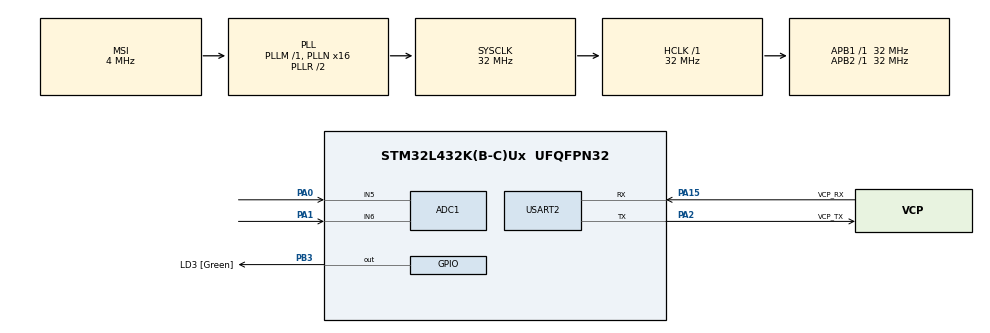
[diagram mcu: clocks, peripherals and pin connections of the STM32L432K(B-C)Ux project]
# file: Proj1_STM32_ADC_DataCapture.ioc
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ADC1.Channel-0\#ChannelRegularConversion=ADC_CHANNEL_5
ADC1.Channel-1\#ChannelRegularConversion=ADC_CHANNEL_6
ADC1.ContinuousConvMode=DISABLE
ADC1.ExternalTrigConv=ADC_SOFTWARE_START
ADC1.NbrOfConversion=2
ADC1.NbrOfConversionFlag=1
ADC1.OffsetNumber-0\#ChannelRegularConversion=ADC_OFFSET_NONE
ADC1.OffsetNumber-1\#ChannelRegularConversion=ADC_OFFSET_NONE
ADC1.Overrun=ADC_OVR_DATA_OVERWRITTEN
ADC1.Rank-0\#ChannelRegularConversion=1
ADC1.Rank-1\#ChannelRegularConversion=2
ADC1.SamplingTime-0\#ChannelRegularConversion=ADC_SAMPLETIME_2CYCLES_5
ADC1.SamplingTime-1\#ChannelRegularConversion=ADC_SAMPLETIME_2CYCLES_5
ADC1.master=1
Dma.ADC1.0.Direction=DMA_PERIPH_TO_MEMORY
Dma.ADC1.0.Instance=DMA1_Channel1
Dma.ADC1.0.MemDataAlignment=DMA_MDATAALIGN_HALFWORD
Dma.ADC1.0.MemInc=DMA_MINC_ENABLE
Dma.ADC1.0.Mode=DMA_NORMAL
Dma.ADC1.0.PeriphDataAlignment=DMA_PDATAALIGN_HALFWORD
Dma.ADC1.0.PeriphInc=DMA_PINC_DISABLE
Dma.ADC1.0.Priority=DMA_PRIORITY_LOW
Dma.Request0=ADC1
Mcu.Family=STM32L4
Mcu.Name=STM32L432K(B-C)Ux
Mcu.Package=UFQFPN32
NVIC.ADC1_IRQn=true\:0\:0\:false\:false\:true\:true\:true\:true
NVIC.DMA1_Channel1_IRQn=true\:0\:0\:false\:false\:true\:false\:true\:true
NVIC.PriorityGroup=NVIC_PRIORITYGROUP_4
PA0.Signal=ADCx_IN5
PA1.Signal=ADCx_IN6
PA13\ (JTMS-SWDIO).GPIO_Label=SWDIO
PA13\ (JTMS-SWDIO).Mode=Serial_Wire
PA13\ (JTMS-SWDIO).Signal=SYS_JTMS-SWDIO
PA14\ (JTCK-SWCLK).GPIO_Label=SWCLK
PA14\ (JTCK-SWCLK).Mode=Serial_Wire
PA14\ (JTCK-SWCLK).Signal=SYS_JTCK-SWCLK
PA15\ (JTDI).GPIO_Label=VCP_RX
PA15\ (JTDI).Mode=Asynchronous
PA15\ (JTDI).Signal=USART2_RX
PA2.GPIO_Label=VCP_TX
PA2.Mode=Asynchronous
PA2.Signal=USART2_TX
PB3\ (JTDO-TRACESWO).GPIO_Label=LD3 [Green]
PB3\ (JTDO-TRACESWO).Signal=GPIO_Output
PC14-OSC32_IN\ (PC14).Mode=LSE-External-Oscillator
PC14-OSC32_IN\ (PC14).Signal=RCC_OSC32_IN
PC15-OSC32_OUT\ (PC15).Mode=LSE-External-Oscillator
PC15-OSC32_OUT\ (PC15).Signal=RCC_OSC32_OUT
ProjectManager.HeapSize=0x200
ProjectManager.StackSize=0x400
ProjectManager.TargetToolchain=STM32CubeIDE
RCC.ADCFreq_Value=16000000
RCC.AHBFreq_Value=32000000
RCC.APB1Freq_Value=32000000
RCC.APB1TimFreq_Value=32000000
RCC.APB2Freq_Value=32000000
RCC.APB2TimFreq_Value=32000000
RCC.CortexFreq_Value=32000000
RCC.HCLKFreq_Value=32000000
RCC.HSE_VALUE=8000000
RCC.HSI16_VALUE=16000000
RCC.HSI48_VALUE=48000000
RCC.HSI_VALUE=16000000
RCC.MSI_VALUE=4000000
RCC.PLLMUL=RCC_PLLMUL_4
RCC.PLLN=16
RCC.PLLSAI1N=16
RCC.PLLSAI1R=RCC_PLLR_DIV4
RCC.SYSCLKFreq_VALUE=32000000
RCC.SYSCLKSource=RCC_SYSCLKSOURCE_PLLCLK
RCC.USBFreq_Value=32000000
RCC.VCOOutputFreq_Value=64000000
SH.ADCx_IN5.0=ADC1_IN5,IN5-Single-Ended
SH.ADCx_IN6.0=ADC1_IN6,IN6-Single-Ended
USART2.VirtualMode-Asynchronous=VM_ASYNC
board=NUCLEO-L432KC

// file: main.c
/* USER CODE BEGIN Header */
/**
  ******************************************************************************
  * @file           : main.c
  * @brief          : Main program body
  ******************************************************************************
  * @attention
  *
  * Copyright (c) 2024 STMicroelectronics.
  * All rights reserved.
  *
  * This software is licensed under terms that can be found in the LICENSE file
  * in the root directory of this software component.
  * If no LICENSE file comes with this software, it is provided AS-IS.
  *
  ******************************************************************************
  */
/* USER CODE END Header */
#include "main.h"

/* USER CODE BEGIN Includes */
#include <string.h>
#include <stdio.h>
/* USER CODE END Includes */

/* USER CODE BEGIN PD */
#define TXBUFLEN (100)
/* USER CODE END PD */

ADC_HandleTypeDef hadc1;
DMA_HandleTypeDef hdma_adc1;

UART_HandleTypeDef huart2;

/* USER CODE BEGIN PV */
volatile uint16_t adcResultsDMA[2];
const int adcChannelCount = sizeof(adcResultsDMA)/sizeof(adcResultsDMA[0]);
volatile int adcConversionComplete = 0; // set by callback
char txBuf[TXBUFLEN];
/* USER CODE END PV */

void SystemClock_Config(void);
static void MX_GPIO_Init(void);
static void MX_DMA_Init(void);
static void MX_USART2_UART_Init(void);
static void MX_ADC1_Init(void);

int main(void)
{

  /* MCU Configuration--------------------------------------------------------*/

  /* Reset of all peripherals, Initializes the Flash interface and the Systick. */
  HAL_Init();

  /* Configure the system clock */
  SystemClock_Config();

  /* Initialize all configured peripherals */
  MX_GPIO_Init();
  MX_DMA_Init();
  MX_USART2_UART_Init();
  MX_ADC1_Init();

  /* Infinite loop */
  /* USER CODE BEGIN WHILE */

  count = 0; // Initiate Loop Counter to 0

  while (1)
  {
    /* USER CODE END WHILE */

    /* USER CODE BEGIN 3 */
	// Capture samples of ADC Raw data and transmit through Serial Communications using UART protocol
	//Set LD3 LED to High - indicating start of capture
	HAL_GPIO_WritePin(GPIOB, GPIO_PIN_3, GPIO_PIN_SET);

	// Getting ADC value
	HAL_ADC_Start_DMA(&hadc1, (uint32_t*)adcResultsDMA, adcChannelCount);
	while(adcConversionComplete == 0)
	{

	}
	adcConversionComplete = 0;		// Create a message to send over UART
	snprintf(txBuf, TXBUFLEN, "CH1 = %d\tCH2 = %d\r\n", adcResultsDMA[0], adcResultsDMA[1]);
	HAL_UART_Transmit(&huart2, (uint8_t*)txBuf, strlen(txBuf), HAL_MAX_DELAY);
	HAL_GPIO_WritePin(GPIOB, GPIO_PIN_3, GPIO_PIN_RESET); 		// Set LD3 LED to indicate ADC has stopped acquisition
	HAL_Delay(10);

  }
  /* USER CODE END 3 */
}

void SystemClock_Config(void)
{
  RCC_OscInitTypeDef RCC_OscInitStruct = {0};
  RCC_ClkInitTypeDef RCC_ClkInitStruct = {0};

  /** Configure the main internal regulator output voltage
  */
  if (HAL_PWREx_ControlVoltageScaling(PWR_REGULATOR_VOLTAGE_SCALE1) != HAL_OK)
  {
    Error_Handler();
  }

  /** Configure LSE Drive Capability
  */
  HAL_PWR_EnableBkUpAccess();
  __HAL_RCC_LSEDRIVE_CONFIG(RCC_LSEDRIVE_LOW);

  /** Initializes the RCC Oscillators according to the specified parameters
  * in the RCC_OscInitTypeDef structure.
  */
  RCC_OscInitStruct.OscillatorType = RCC_OSCILLATORTYPE_LSE|RCC_OSCILLATORTYPE_MSI;
  RCC_OscInitStruct.LSEState = RCC_LSE_ON;
  RCC_OscInitStruct.MSIState = RCC_MSI_ON;
  RCC_OscInitStruct.MSICalibrationValue = 0;
  RCC_OscInitStruct.MSIClockRange = RCC_MSIRANGE_6;
  RCC_OscInitStruct.PLL.PLLState = RCC_PLL_ON;
  RCC_OscInitStruct.PLL.PLLSource = RCC_PLLSOURCE_MSI;
  RCC_OscInitStruct.PLL.PLLM = 1;
  RCC_OscInitStruct.PLL.PLLN = 16;
  RCC_OscInitStruct.PLL.PLLP = RCC_PLLP_DIV7;
  RCC_OscInitStruct.PLL.PLLQ = RCC_PLLQ_DIV2;
  RCC_OscInitStruct.PLL.PLLR = RCC_PLLR_DIV2;
  if (HAL_RCC_OscConfig(&RCC_OscInitStruct) != HAL_OK)
  {
    Error_Handler();
  }

  /** Initializes the CPU, AHB and APB buses clocks
  */
  RCC_ClkInitStruct.ClockType = RCC_CLOCKTYPE_HCLK|RCC_CLOCKTYPE_SYSCLK
                              |RCC_CLOCKTYPE_PCLK1|RCC_CLOCKTYPE_PCLK2;
  RCC_ClkInitStruct.SYSCLKSource = RCC_SYSCLKSOURCE_PLLCLK;
  RCC_ClkInitStruct.AHBCLKDivider = RCC_SYSCLK_DIV1;
  RCC_ClkInitStruct.APB1CLKDivider = RCC_HCLK_DIV1;
  RCC_ClkInitStruct.APB2CLKDivider = RCC_HCLK_DIV1;

  if (HAL_RCC_ClockConfig(&RCC_ClkInitStruct, FLASH_LATENCY_1) != HAL_OK)
  {
    Error_Handler();
  }

  /** Enable MSI Auto calibration
  */
  HAL_RCCEx_EnableMSIPLLMode();
}

static void MX_ADC1_Init(void)
{

  ADC_ChannelConfTypeDef sConfig = {0};

  /** Common config
  */
  hadc1.Instance = ADC1;
  hadc1.Init.ClockPrescaler = ADC_CLOCK_ASYNC_DIV1;
  hadc1.Init.Resolution = ADC_RESOLUTION_12B;
  hadc1.Init.DataAlign = ADC_DATAALIGN_RIGHT;
  hadc1.Init.ScanConvMode = ADC_SCAN_ENABLE;
  hadc1.Init.EOCSelection = ADC_EOC_SINGLE_CONV;
  hadc1.Init.LowPowerAutoWait = DISABLE;
  hadc1.Init.ContinuousConvMode = DISABLE;
  hadc1.Init.NbrOfConversion = 2;
  hadc1.Init.DiscontinuousConvMode = DISABLE;
  hadc1.Init.ExternalTrigConv = ADC_SOFTWARE_START;
  hadc1.Init.ExternalTrigConvEdge = ADC_EXTERNALTRIGCONVEDGE_NONE;
  hadc1.Init.DMAContinuousRequests = DISABLE;
  hadc1.Init.Overrun = ADC_OVR_DATA_OVERWRITTEN;
  hadc1.Init.OversamplingMode = DISABLE;
  if (HAL_ADC_Init(&hadc1) != HAL_OK)
  {
    Error_Handler();
  }

  /** Configure Regular Channel
  */
  sConfig.Channel = ADC_CHANNEL_5;
  sConfig.Rank = ADC_REGULAR_RANK_1;
  sConfig.SamplingTime = ADC_SAMPLETIME_2CYCLES_5;
  sConfig.SingleDiff = ADC_SINGLE_ENDED;
  sConfig.OffsetNumber = ADC_OFFSET_NONE;
  sConfig.Offset = 0;
  if (HAL_ADC_ConfigChannel(&hadc1, &sConfig) != HAL_OK)
  {
    Error_Handler();
  }

  /** Configure Regular Channel
  */
  sConfig.Channel = ADC_CHANNEL_6;
  sConfig.Rank = ADC_REGULAR_RANK_2;
  if (HAL_ADC_ConfigChannel(&hadc1, &sConfig) != HAL_OK)
  {
    Error_Handler();
  }

}

static void MX_USART2_UART_Init(void)
{

  huart2.Instance = USART2;
  huart2.Init.BaudRate = 115200;
  huart2.Init.WordLength = UART_WORDLENGTH_8B;
  huart2.Init.StopBits = UART_STOPBITS_1;
  huart2.Init.Parity = UART_PARITY_NONE;
  huart2.Init.Mode = UART_MODE_TX_RX;
  huart2.Init.HwFlowCtl = UART_HWCONTROL_NONE;
  huart2.Init.OverSampling = UART_OVERSAMPLING_16;
  huart2.Init.OneBitSampling = UART_ONE_BIT_SAMPLE_DISABLE;
  huart2.AdvancedInit.AdvFeatureInit = UART_ADVFEATURE_NO_INIT;
  if (HAL_UART_Init(&huart2) != HAL_OK)
  {
    Error_Handler();
  }

}

static void MX_DMA_Init(void)
{

  /* DMA controller clock enable */
  __HAL_RCC_DMA1_CLK_ENABLE();

  /* DMA interrupt init */
  /* DMA1_Channel1_IRQn interrupt configuration */
  HAL_NVIC_SetPriority(DMA1_Channel1_IRQn, 0, 0);
  HAL_NVIC_EnableIRQ(DMA1_Channel1_IRQn);

}

static void MX_GPIO_Init(void)
{
  GPIO_InitTypeDef GPIO_InitStruct = {0};

  /* GPIO Ports Clock Enable */
  __HAL_RCC_GPIOC_CLK_ENABLE();
  __HAL_RCC_GPIOA_CLK_ENABLE();
  __HAL_RCC_GPIOB_CLK_ENABLE();

  /*Configure GPIO pin Output Level */
  HAL_GPIO_WritePin(LD3_GPIO_Port, LD3_Pin, GPIO_PIN_RESET);

  /*Configure GPIO pin : LD3_Pin */
  GPIO_InitStruct.Pin = LD3_Pin;
  GPIO_InitStruct.Mode = GPIO_MODE_OUTPUT_PP;
  GPIO_InitStruct.Pull = GPIO_NOPULL;
  GPIO_InitStruct.Speed = GPIO_SPEED_FREQ_LOW;
  HAL_GPIO_Init(LD3_GPIO_Port, &GPIO_InitStruct);

}

/* USER CODE BEGIN 4 */
void HAL_ADC_ConvCpltCallback(ADC_HandleTypeDef *hadc)
{
	adcConversionComplete = 1;
}
/* USER CODE END 4 */

void Error_Handler(void)
{
  __disable_irq();
  while (1)
  {
  }
}
